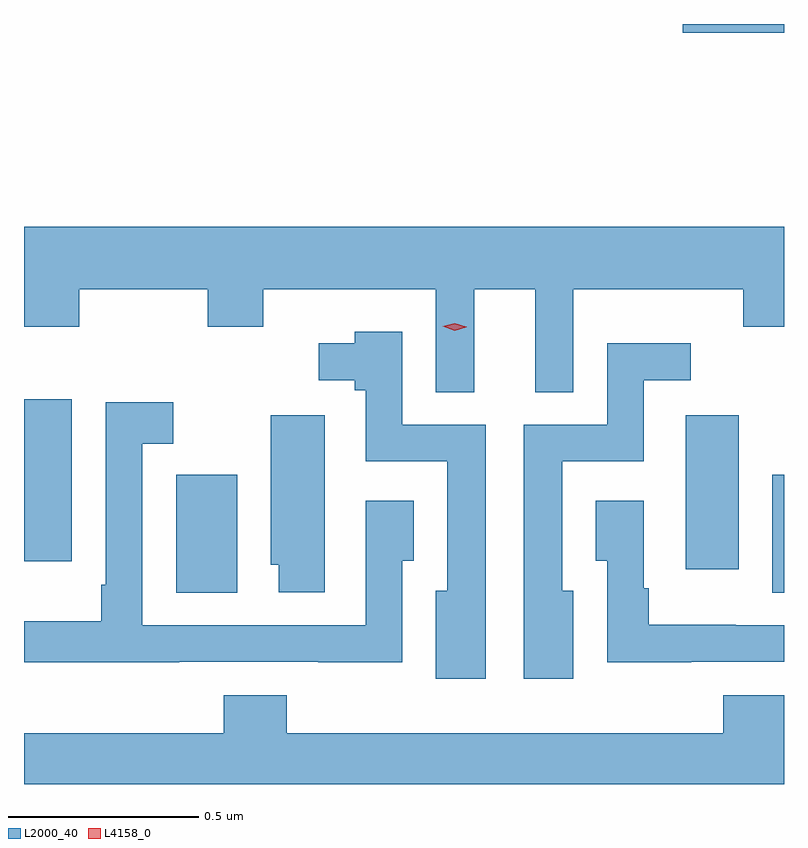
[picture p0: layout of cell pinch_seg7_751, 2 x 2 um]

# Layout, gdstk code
import gdstk
lib = gdstk.Library(unit=1e-6, precision=1e-09)
def R(c, l, rs):  # rectangles x0, y0, x1, y1
    for r in rs: c.add(gdstk.rectangle(r[:2], r[2:], *l))
def P(c, l, *ps):  # polygons
    for p in ps: c.add(gdstk.Polygon(p, *l))
L2000_40 = (2000, 40)
L4158_0 = (4158, 0)

pinch_seg7_751 = lib.new_cell('pinch_seg7_751')
R(pinch_seg7_751, L2000_40, [(329.615,1001.149,329.776,1001.46), (331.184,1001.149,331.215,1001.46), (330.956,1001.211,331.096,1001.617), (329.215,1001.232,329.341,1001.659), (330.948,1002.623,331.215,1002.646)])
P(pinch_seg7_751, L2000_40, [(330.4,1001.948),(330.56,1001.948),(330.56,1001.677),(330.661,1001.677),(330.661,1001.948),(331.108,1001.948),(331.108,1001.849),(331.215,1001.849),(331.215,1002.112),(329.215,1002.112),(329.215,1001.849),(329.361,1001.849),(329.361,1001.948),(329.698,1001.948),(329.698,1001.849),(329.845,1001.849),(329.845,1001.948),(330.299,1001.948),(330.299,1001.677),(330.4,1001.677)],
  [(330.43,1001.592),(330.21,1001.592),(330.21,1001.836),(330.086,1001.836),(330.086,1001.806),(329.991,1001.806),(329.991,1001.709),(330.086,1001.709),(330.086,1001.682),(330.114,1001.682),(330.114,1001.496),(330.329,1001.496),(330.329,1001.155),(330.299,1001.155),(330.299,1000.923),(330.43,1000.923)],
  [(330.661,1001.155),(330.631,1001.155),(330.631,1001.496),(330.846,1001.496),(330.846,1001.709),(330.97,1001.709),(330.97,1001.806),(330.75,1001.806),(330.75,1001.592),(330.53,1001.592),(330.53,1000.923),(330.661,1000.923)],
  [(329.623,1000.968),(329.989,1000.968),(329.989,1000.967),(330.21,1000.967),(330.21,1001.233),(330.241,1001.233),(330.241,1001.392),(330.114,1001.392),(330.114,1001.064),(329.526,1001.064),(329.526,1001.541),(329.608,1001.541),(329.608,1001.65),(329.43,1001.65),(329.43,1001.17),(329.418,1001.17),(329.418,1001.074),(329.215,1001.074),(329.215,1000.967),(329.623,1000.967)],
  [(330.007,1001.617),(329.864,1001.617),(329.864,1001.223),(329.885,1001.223),(329.885,1001.151),(330.007,1001.151)],
  [(330.971,1000.968),(331.215,1000.968),(331.215,1001.064),(331.088,1001.064),(331.088,1001.065),(330.859,1001.065),(330.859,1001.161),(330.846,1001.161),(330.846,1001.392),(330.719,1001.392),(330.719,1001.233),(330.75,1001.233),(330.75,1000.967),(330.971,1000.967)],
  [(331.215,1000.879),(331.055,1000.879),(331.055,1000.78),(329.906,1000.78),(329.906,1000.879),(329.741,1000.879),(329.741,1000.78),(329.215,1000.78),(329.215,1000.646),(331.215,1000.646)])
P(pinch_seg7_751, L4158_0, [(330.348,1001.839),(330.317,1001.85),(330.316,1001.85),(330.317,1001.85),(330.348,1001.859),(330.379,1001.849),(330.38,1001.849),(330.379,1001.848)])

lib.write_gds('pinch_seg7_751.gds')
